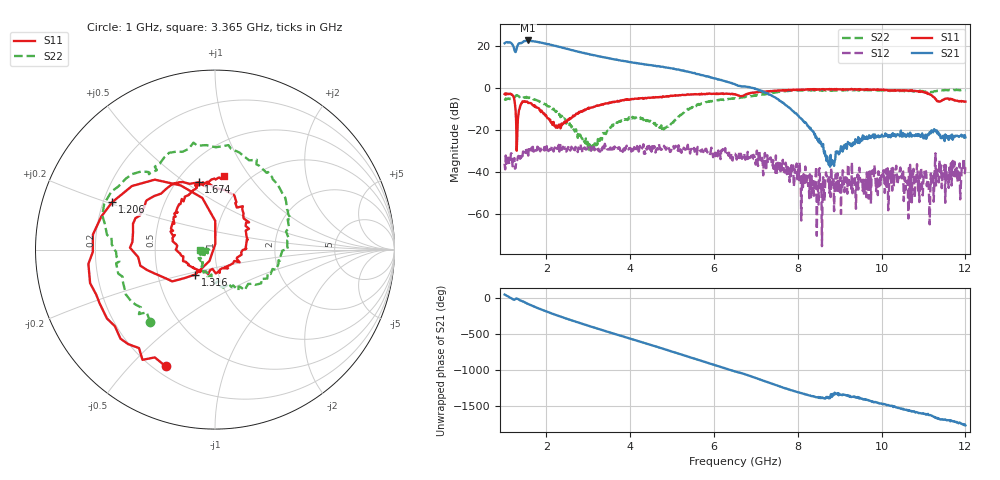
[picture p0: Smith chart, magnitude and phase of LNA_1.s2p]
!Keysight Technologies N9917A: A.08.15
!Date: Friday, 13 October 2017 17:20:55
!Timezone: (GMT-08:00) Pacific Time (US & Canada)
!Model: N9917A
!Serial: MY53102735
!GPS Latitude:
!GPS Longitude:
!GPS TimeStamp: 0001-01-01 00:00:00Z
!GPS Seconds Since Last Read: 0
!CHECKSUM:0388049347
!Correction: S11(ON U)S21(ON U)S12(ON U)S22(ON U)
!S2P File: Measurements:S11,S21,S12,S22:
# Hz S DB R 50
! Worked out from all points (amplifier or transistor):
!   801 points, 1 GHz to 12 GHz, reference 50 ohm
!   highest |S21| = 22.4 dB at 1.564 GHz (marker M1)
!   |S21| within 3 dB of that: 1.299 GHz to 2.287 GHz (987.9 MHz wide, 55.1 % of centre)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
!   unconditionally stable (mu >= 1): start of sweep to 1.018 GHz; 1.181 GHz to 1.426 GHz; 1.82 GHz to end of sweep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
!   at 2.829 GHz: K = 1.99, MAG = 17.3 dB, |S12| = -29.1 dB
!   at 6.5 GHz: K = 4.86, MAG = 6.7 dB, |S12| = -31.3 dB
!   at 12 GHz: K = 110.92, MAG = -16.3 dB, |S12| = -37.8 dB
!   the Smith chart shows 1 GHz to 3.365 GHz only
!   S11 on the Smith chart (normalised r, x): 1 GHz: 0.24, -0.64; 1.206 GHz: 0.24, +0.21; 1.316 GHz: 0.77, -0.22; 1.674 GHz: 0.64, +0.56; 3.365 GHz: 0.77, +0.76
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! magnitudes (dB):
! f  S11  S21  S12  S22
! 1 GHz  -3.0  21.1  -36.1  -5.3
! 1.206 GHz  -4.0  19.8  -34.3  -5.0
! 1.316 GHz  -15.0  20.3  -32.9  -3.8
! 1.564 GHz  -7.3  22.4  -32.3  -4.9
! 1.674 GHz  -8.3  22.2  -28.0  -5.2
! 2.251 GHz  -18.3  19.7  -29.1  -11.7
! 2.842 GHz  -11.4  16.7  -28.9  -23.9
! 3.062 GHz  -9.4  15.7  -30.0  -27.6
! 3.365 GHz  -7.7  14.4  -27.7  -21.7
! 4.025 GHz  -5.5  12.1  -30.3  -14.2
! 4.671 GHz  -4.4  10.2  -27.5  -18.9
! 6.5 GHz  -3.0  1.7  -31.3  -5.0
! 7.476 GHz  -1.5  -4.8  -32.2  -2.3
! 8.342 GHz  -0.7  -20.3  -49.8  -1.1
! 8.783 GHz  -0.9  -31.9  -51.9  -1.3
! 10.17 GHz  -1.3  -22.6  -52.9  -1.5
! 10.46 GHz  -1.3  -20.3  -39.2  -1.5
! 10.58 GHz  -1.2  -23.4  -44.4  -1.5
! 11.05 GHz  -2.4  -22.2  -39.2  -1.8
! 11.19 GHz  -3.4  -20.2  -45.3  -2.0
! 11.33 GHz  -6.4  -21.7  -40.3  -1.6
! 12 GHz  -6.6  -23.6  -37.8  -1.2
